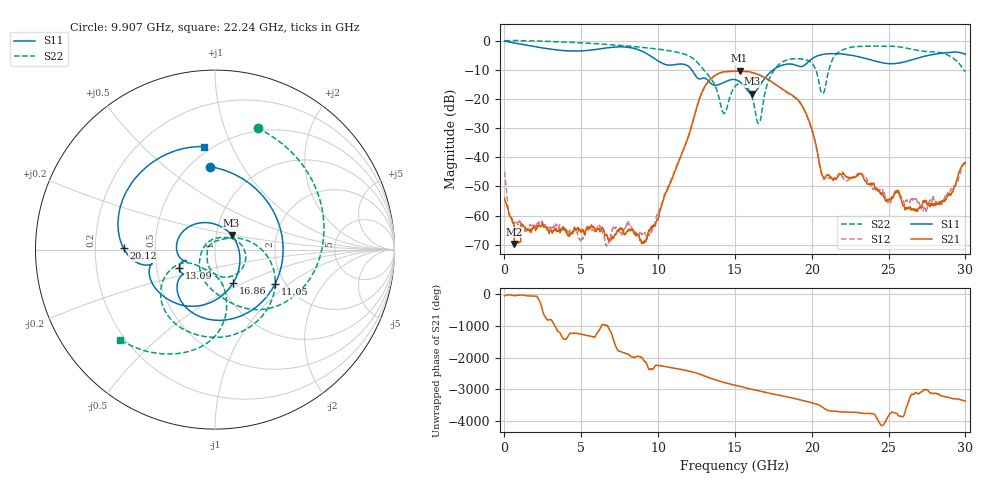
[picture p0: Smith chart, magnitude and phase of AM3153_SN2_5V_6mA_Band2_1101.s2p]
!Agilent Technologies,E8364B,MY43040894,A.07.50.67
!Agilent E8364B: A.07.50.67
!Date: Tuesday, May 12, 2020 09:52:55
!Correction: S11(Full 2 Port(1,2))
!S21(Full 2 Port(1,2))
!S12(Full 2 Port(1,2))
!S22(Full 2 Port(1,2))
!S2P File: Measurements: S11, S21, S12, S22:
# Hz S  dB  R 50
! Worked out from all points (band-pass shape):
!   1601 points, 10 MHz to 30 GHz, reference 50 ohm
!   highest |S21| = -10.37 dB at 15.3 GHz (marker M1); lowest = -69.7 dB at 647.3 MHz (marker M2)
!   |S21| within 3 dB of the highest: 13.38 GHz to 17.16 GHz (3.789 GHz wide, 24.8 % of centre)
!   lowest |S11| = -18.2 dB at 16.09 GHz (marker M3), VSWR 1.28, Z = 59.3 + j9.73 ohm
!   |S11| at or under -10 dB: 12.18 GHz to 17.5 GHz (5.312 GHz wide, 35.8 % of centre)
!   |S22| runs from -28.4 to 0.0 dB; largest |S21 - S12| = 0.0079
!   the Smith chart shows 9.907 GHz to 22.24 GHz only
!   S11 on the Smith chart (normalised r, x): 9.907 GHz: 0.62, +0.73; 11.05 GHz: 1.77, -0.80; 13.09 GHz: 0.66, -0.14; 16.86 GHz: 1.14, -0.44; 20.12 GHz: 0.32, +0.01; 22.24 GHz: 0.46, +0.79
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1e7  -0.23 -5.5  -54.09 -44.2  -44.97 121.9  -0.06 -1.5
6.472875e8  -0.82 -49.2  -69.70 -33.4  -62.34 -21.0  0.04 -18.7
2.615381e9  -2.65 -170.7  -63.63 44.6  -63.66 -40.3  -0.22 -75.9
5.014581e9  -3.54 57.6  -65.32 179.6  -68.35 174.1  -0.77 -142.7
7.488756e9  -2.14 -89.3  -64.75 4.6  -65.43 36.1  -1.64 148.4
8.7071e9  -3.12 -168.6  -66.81 -159.5  -67.19 -172.6  -2.20 111.6
9.9067e9  -6.68 93.5  -61.64 -82.8  -60.02 -75.2  -2.88 70.7
1.001916e10  -7.06 82.3  -60.72 -90.2  -58.76 -75.7  -2.96 66.6
1.105007e10  -8.28 -30.1  -45.39 -170.0  -44.92 -169.5  -3.77 25.8
1.309314e10  -13.01 -152.2  -15.28 -73.6  -15.40 -74.8  -10.88 -78.0
1.427399e10  -14.39 -162.4  -10.73 100.0  -10.72 99.7  -24.94 132.7
1.5005e10  -13.37 165.6  -10.44 8.9  -10.49 7.7  -15.73 -0.6
1.53049e10  -14.07 143.4  -10.37 -26.4  -10.52 -27.4  -14.71 -29.4
1.609214e10  -18.24 41.3  -10.89 -117.4  -11.02 -117.0  -19.00 -103.8
1.686063e10  -13.50 -61.2  -12.47 156.9  -12.42 156.7  -20.51 41.8
2.000958e10  -6.25 -176.6  -30.41 173.8  -30.71 174.7  -7.73 -136.9
2.012204e10  -5.86 179.2  -32.60 159.5  -32.81 160.4  -8.49 -143.3
2.072184e10  -4.74 155.3  -46.57 29.7  -46.88 28.4  -18.20 -114.9
2.224009e10  -4.76 96.3  -46.70 -117.5  -48.15 -119.8  -2.74 -136.6
2.501416e10  -7.92 -53.1  -54.41 137.3  -55.91 144.3  -1.93 135.6
2.726341e10  -5.48 173.8  -54.84 -143.2  -58.39 173.5  -3.66 78.1
3e10  -4.67 85.8  -41.84 -132.8  -42.13 -130.8  -10.66 -9.0
